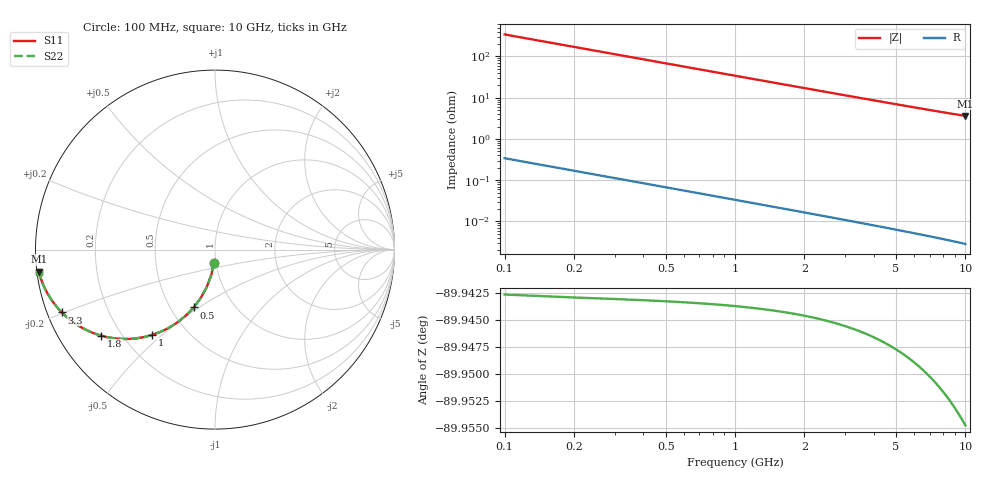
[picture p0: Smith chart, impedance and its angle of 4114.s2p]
# Hz S RI R 50.00
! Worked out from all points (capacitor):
!   100 points, 100 MHz to 10 GHz, reference 50 ohm
!   read as one part in shunt: C = 4.66 pF near 100 MHz
!   lowest |Z| = 3.63 ohm at 10 GHz (marker M1)
!   S11 on the Smith chart (normalised r, x): 100 MHz: 0.98, -0.14; 500 MHz: 0.65, -0.48; 1 GHz: 0.32, -0.46; 1.8 GHz: 0.13, -0.33; 3.3 GHz: 0.04, -0.20; 10 GHz: 0.01, -0.06
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1e8  -0.00539 -0.0728  0.9946 -0.073  0.9946 -0.073  -0.00539 -0.0728
2e8  -0.0211 -0.1432  0.9788 -0.1436  0.9788 -0.1436  -0.0211 -0.1432
3e8  -0.0463 -0.2093  0.9537 -0.2099  0.9537 -0.2099  -0.0463 -0.2093
4e8  -0.0793 -0.2694  0.9206 -0.2701  0.9206 -0.2701  -0.0793 -0.2694
5e8  -0.1185 -0.3223  0.8814 -0.3233  0.8814 -0.3233  -0.1185 -0.3223
6e8  -0.1622 -0.3675  0.8378 -0.3687  0.8378 -0.3687  -0.1622 -0.3675
7e8  -0.2084 -0.405  0.7915 -0.4064  0.7915 -0.4064  -0.2084 -0.405
8e8  -0.2558 -0.4351  0.7441 -0.4366  0.7441 -0.4366  -0.2558 -0.4351
1e9  -0.3493 -0.4753  0.6506 -0.4772  0.6506 -0.4772  -0.3493 -0.4753
1.3e9  -0.4754 -0.4976  0.5245 -0.5002  0.5245 -0.5002  -0.4754 -0.4976
1.5e9  -0.5467 -0.4959  0.4532 -0.4988  0.4532 -0.4988  -0.5467 -0.4959
1.8e9  -0.6344 -0.4793  0.3655 -0.4828  0.3655 -0.4828  -0.6344 -0.4793
2.1e9  -0.7024 -0.4546  0.2975 -0.4587  0.2975 -0.4587  -0.7024 -0.4546
2.5e9  -0.7698 -0.418  0.2302 -0.4229  0.2302 -0.4229  -0.7698 -0.418
2.9e9  -0.8181 -0.3824  0.1819 -0.3881  0.1819 -0.3881  -0.8181 -0.3824
3.3e9  -0.8534 -0.35  0.1466 -0.3564  0.1466 -0.3564  -0.8534 -0.35
3.4e9  -0.8607 -0.3424  0.1393 -0.3491  0.1393 -0.3491  -0.8607 -0.3424
4.2e9  -0.904 -0.2898  0.0959 -0.2981  0.0959 -0.2981  -0.904 -0.2898
5.1e9  -0.9329 -0.2446  0.067 -0.2547  0.067 -0.2547  -0.9329 -0.2446
6.7e9  -0.9601 -0.1884  0.0398 -0.2018  0.0398 -0.2018  -0.9601 -0.1884
8.4e9  -0.9743 -0.1488  0.0254 -0.1657  0.0254 -0.1657  -0.9743 -0.1488
1e10  -0.9819 -0.1221  0.0178 -0.1426  0.0178 -0.1426  -0.9819 -0.1221
